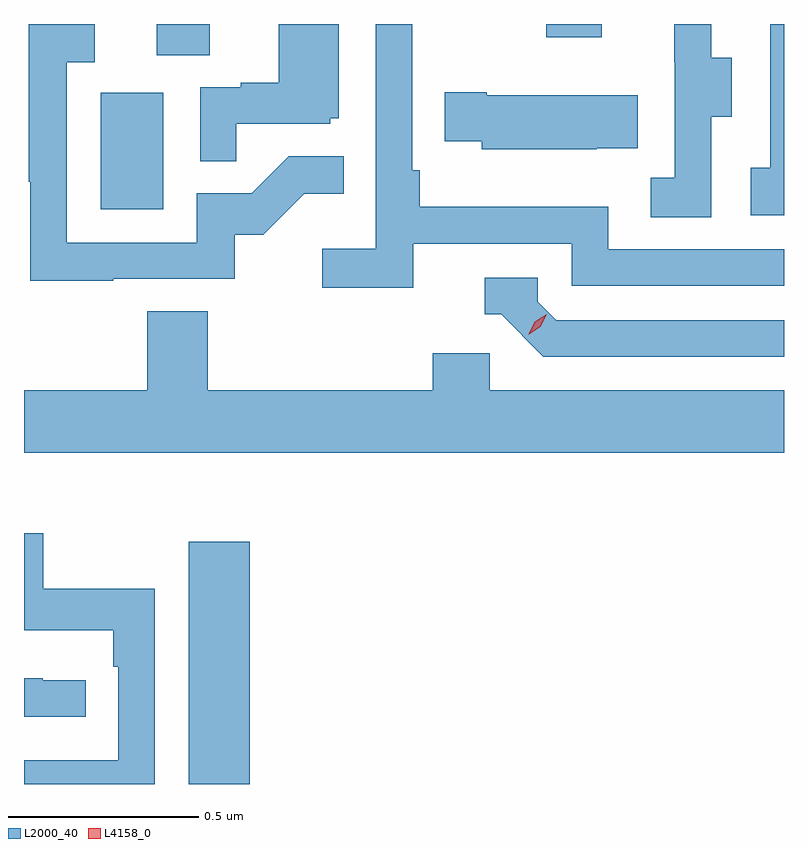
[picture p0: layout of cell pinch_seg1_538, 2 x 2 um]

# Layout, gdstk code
import gdstk
lib = gdstk.Library(unit=1e-6, precision=1e-09)
def R(c, l, rs):  # rectangles x0, y0, x1, y1
    for r in rs: c.add(gdstk.rectangle(r[:2], r[2:], *l))
def P(c, l, *ps):  # polygons
    for p in ps: c.add(gdstk.Polygon(p, *l))
L2000_40 = (2000, 40)
L4158_0 = (4158, 0)

pinch_seg1_538 = lib.new_cell('pinch_seg1_538')
R(pinch_seg1_538, L2000_40, [(1077.527,532.212,1077.688,532.849), (1077.296,533.724,1077.46,534.031), (1077.443,534.13,1077.583,534.212), (1078.468,534.177,1078.615,534.212)])
P(pinch_seg1_538, L2000_40, [(1077.653,533.949),(1077.9,533.949),(1077.9,533.964),(1077.922,533.964),(1077.922,534.212),(1077.764,534.212),(1077.764,534.058),(1077.665,534.058),(1077.665,534.045),(1077.558,534.045),(1077.558,533.851),(1077.653,533.851)],
  [(1077.329,533.541),(1077.648,533.541),(1077.648,533.658),(1077.724,533.658),(1077.831,533.765),(1077.935,533.765),(1077.935,533.864),(1077.791,533.864),(1077.693,533.766),(1077.549,533.766),(1077.549,533.637),(1077.207,533.637),(1077.207,534.111),(1077.28,534.111),(1077.28,534.212),(1077.106,534.212),(1077.106,533.797),(1077.111,533.797),(1077.111,533.536),(1077.329,533.536)],
  [(1079.094,534.212),(1079.058,534.212),(1079.058,533.834),(1079.007,533.834),(1079.007,533.709),(1079.094,533.709)],
  [(1078.118,533.634),(1078.536,533.634),(1078.536,533.523),(1079.094,533.523),(1079.094,533.619),(1078.632,533.619),(1078.632,533.731),(1078.136,533.731),(1078.136,533.827),(1078.116,533.827),(1078.116,534.212),(1078.02,534.212),(1078.02,533.62),(1077.879,533.62),(1077.879,533.518),(1078.118,533.518)],
  [(1078.902,533.968),(1078.957,533.968),(1078.957,534.123),(1078.903,534.123),(1078.903,534.212),(1078.805,534.212),(1078.805,534.111),(1078.806,534.111),(1078.806,533.807),(1078.743,533.807),(1078.743,533.704),(1078.902,533.704)],
  [(1078.601,533.885),(1078.709,533.885),(1078.709,534.025),(1078.312,534.025),(1078.312,534.033),(1078.201,534.033),(1078.201,533.903),(1078.299,533.903),(1078.299,533.882),(1078.601,533.882)],
  [(1079.094,533.433),(1078.494,533.433),(1078.446,533.481),(1078.446,533.544),(1078.307,533.544),(1078.307,533.448),(1078.35,533.448),(1078.461,533.337),(1079.094,533.337)],
  [(1079.094,533.248),(1078.32,533.248),(1078.32,533.346),(1078.169,533.346),(1078.169,533.248),(1077.578,533.248),(1077.578,533.456),(1077.418,533.456),(1077.418,533.248),(1077.094,533.248),(1077.094,533.084),(1079.094,533.084)],
  [(1077.438,532.726),(1077.145,532.726),(1077.145,532.872),(1077.094,532.872),(1077.094,532.616),(1077.329,532.616),(1077.329,532.52),(1077.342,532.52),(1077.342,532.275),(1077.094,532.275),(1077.094,532.212),(1077.438,532.212)],
  [(1077.256,532.485),(1077.143,532.485),(1077.143,532.49),(1077.094,532.49),(1077.094,532.389),(1077.256,532.389)])
P(pinch_seg1_538, L4158_0, [(1078.422,533.395),(1078.422,533.396),(1078.438,533.428),(1078.469,533.448),(1078.469,533.448),(1078.469,533.448),(1078.453,533.415),(1078.423,533.395)])

lib.write_gds('pinch_seg1_538.gds')
